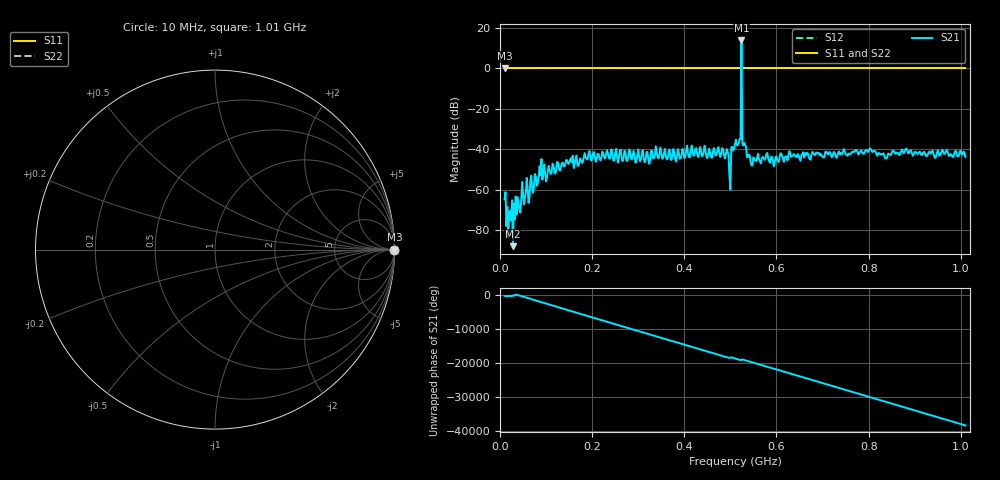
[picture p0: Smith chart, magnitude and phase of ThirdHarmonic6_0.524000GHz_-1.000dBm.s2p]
! 8/15/2025 4:12:15 PM
! C:\ANRITSUVNA\TEMP\TEMP.S2P
! CHANNEL.1
! TR.MEASUREMENT
! RAW.DATA
! RF.CORRECTION.OFF
! AVERAGING.OFF
! IF.BANDWIDTH: 5KHZ
! SWEEPTYPE:  FREQ.SWEEP(Linear)
! Reference Plane Port Info
! PORT:  PORT1  PORT2
! DISTANCE:  0  m  0  m
! TIME:  0  s  0  s
! PHASE.OFFSET:  0  deg.  0  deg.
! LOSS:  0  dB  0  dB
! REF.LOSS:  0  dB  0  dB
! REF.FREQ:  0  Hz  0  Hz
! Power Info
! POWER:  -20  dBm  -20  dBm
! EFF.POWER:  -20  dBm  -20  dBm
! SOURCE.ATTEN:  0  dB  0  dB
! TEST.ATTEN:  0  dB  0  dB
# GHZ S RI R 50.0
! FREQ.GHZ  S11RE  S11IM  S21RE  S21IM  S12RE  S12IM  S22RE  S22IM
!; PortSelection: Port_12
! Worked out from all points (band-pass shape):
!   501 points, 10 MHz to 1.01 GHz, reference 50 ohm
!   highest |S21| = 13.83 dB at 524 MHz (marker M1); lowest = -87.8 dB at 28 MHz (marker M2)
!   |S21| within 3 dB of the highest: 523.8767 MHz to 524.1181 MHz (241.4 kHz wide, 0.0461 % of centre)
!   lowest |S11| = 0.0 dB at 10 MHz (marker M3)
!   |S11| at or under -10 dB: nowhere
!   |S22| runs from 0.0 to 0.0 dB; largest |S21 - S12| = 5.5
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0.01  1 0  -0.000558 -0.000174  1 0  1 0
0.018  1 0  -6.48e-05 -1.35e-05  1 0  1 0
0.028  1 0  6.4e-06 -4.01e-05  1 0  1 0
0.086  1 0  0.0026 -0.00285  1 0  1 0
0.178  1 0  -0.0046 0.000379  1 0  1 0
0.344  1 0  0.0045 -0.00394  1 0  1 0
0.478  1 0  0.0051 -0.00403  1 0  1 0
0.492  1 0  -0.00643 0.00784  1 0  1 0
0.496  1 0  0.0055 -0.00405  1 0  1 0
0.502  1 0  -0.00138 0.0112  1 0  1 0
0.506  1 0  0.00225 -0.00919  1 0  1 0
0.51  1 0  -0.0103 0.00866  1 0  1 0
0.518  1 0  -0.0125 0.00617  1 0  1 0
0.52  1 0  0.00675 0.0167  1 0  1 0
0.524  1 0  -2.692 4.109  1 0  1 0
0.528  1 0  0.000674 0.0124  1 0  1 0
0.53  1 0  0.0145 -0.000727  1 0  1 0
0.548  1 0  0.00382 0.00144  1 0  1 0
0.678  1 0  -0.00744 -0.00449  1 0  1 0
0.804  1 0  -0.0102 0.00234  1 0  1 0
0.844  1 0  0.00772 0.00133  1 0  1 0
1.01  1 0  -0.0053 0.00377  1 0  1 0
